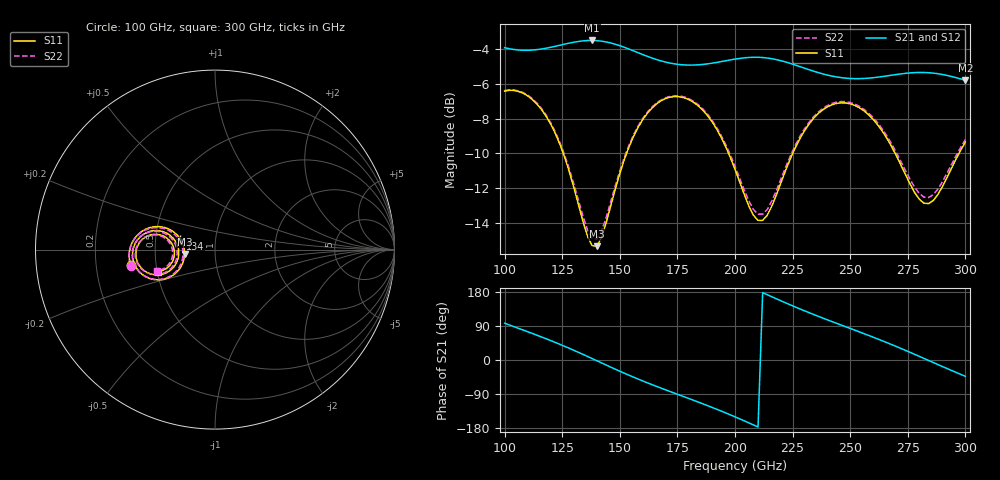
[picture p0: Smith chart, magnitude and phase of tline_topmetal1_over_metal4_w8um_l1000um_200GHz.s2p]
#  GHZ S DB R 50
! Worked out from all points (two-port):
!   101 points, 100 GHz to 300 GHz, reference 50 ohm
!   highest |S21| = -3.51 dB at 138 GHz (marker M1); lowest = -5.8 dB at 300 GHz (marker M2)
!   |S21| within 3 dB of the highest: start of sweep to end of sweep
!   lowest |S11| = -15.3 dB at 140 GHz (marker M3), VSWR 1.41, Z = 35.5 - j1.77 ohm
!   |S11| at or under -10 dB: 125.5 GHz to 152.9 GHz (27.49 GHz wide, 19.7 % of centre); 197.2 GHz to 225 GHz (27.82 GHz wide, 13.2 % of centre); 269.5 GHz to 297.2 GHz (27.69 GHz wide, 9.77 % of centre)
!   |S22| runs from -14.9 to -6.3 dB; largest |S21 - S12| = 6.9e-14
!   S11 on the Smith chart (normalised r, x): 100 GHz: 0.36, -0.08; 134 GHz: 0.67, +0.08; 300 GHz: 0.50, -0.14
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100  -6.42 -169.6  -3.93 97.1  -3.93 97.1  -6.39 -169.2
108  -6.54 177.9  -4.08 79.1  -4.08 79.1  -6.50 178.6
118  -7.86 163.8  -3.96 56.1  -3.96 56.1  -7.80 164.8
126  -10.20 156.4  -3.73 36.3  -3.73 36.3  -10.07 157.8
134  -13.90 163.0  -3.54 14.9  -3.54 14.9  -13.59 164.5
138  -15.29 178.4  -3.51 3.7  -3.51 3.7  -14.87 179.0
140  -15.32 -171.9  -3.52 -1.9  -3.52 -1.9  -14.91 -171.9
146  -13.04 -151.7  -3.66 -18.6  -3.66 -18.6  -12.80 -152.7
154  -9.62 -149.9  -4.01 -40.2  -4.01 -40.2  -9.52 -150.6
168  -6.97 -166.4  -4.69 -74.4  -4.69 -74.4  -6.92 -166.4
184  -7.26 172.4  -4.91 -110.9  -4.91 -110.9  -7.20 172.9
200  -10.91 161.2  -4.59 -150.0  -4.59 -150.0  -10.74 162.3
208  -13.55 173.7  -4.48 -171.3  -4.48 -171.3  -13.21 174.4
212  -13.85 -173.4  -4.49 177.8  -4.49 177.8  -13.48 -173.4
224  -10.31 -154.5  -4.83 145.5  -4.83 145.5  -10.15 -155.3
234  -8.00 -161.1  -5.27 120.4  -5.27 120.4  -7.91 -161.6
252  -7.24 178.2  -5.70 78.7  -5.70 78.7  -7.17 178.4
268  -9.61 165.2  -5.51 40.7  -5.51 40.7  -9.46 165.9
276  -11.76 168.7  -5.38 20.1  -5.38 20.1  -11.49 169.4
284  -12.88 -174.8  -5.36 -1.1  -5.36 -1.1  -12.53 -175.1
292  -11.39 -160.4  -5.52 -22.5  -5.52 -22.5  -11.14 -161.5
300  -9.34 -158.9  -5.80 -43.1  -5.80 -43.1  -9.20 -160.0
